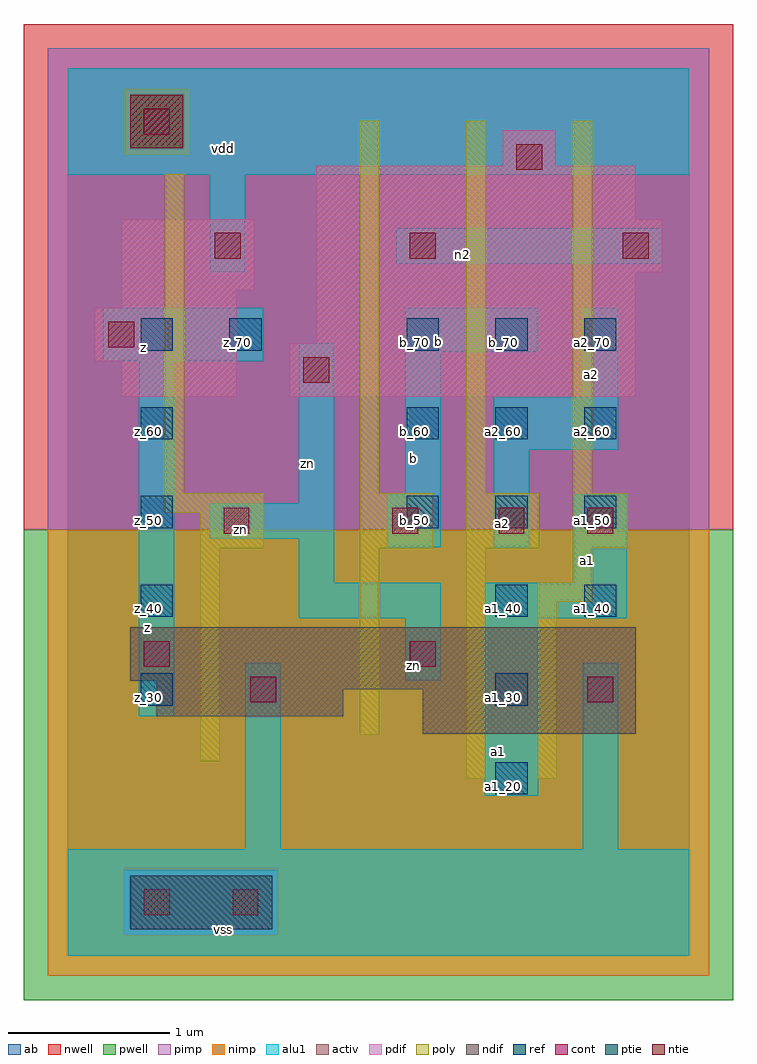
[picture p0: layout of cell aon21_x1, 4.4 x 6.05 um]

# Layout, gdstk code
import gdstk
lib = gdstk.Library(unit=1e-6, precision=2.5e-09)
def R(c, l, rs):  # rectangles x0, y0, x1, y1
    for r in rs: c.add(gdstk.rectangle(r[:2], r[2:], *l))
def A(c, l, x, y, w, h, nx, ny, dx, dy):  # array of equal rectangles
    R(c, l, [(x+i*dx, y+j*dy, x+i*dx+w, y+j*dy+h) for i in range(nx) for j in range(ny)])
ndif = (3, 0)
pdif = (4, 0)
ntie = (5, 0)
ptie = (6, 0)
ref = (24, 0)
cont = (25, 0)
pwell = (41, 0)
nwell = (42, 0)
activ = (43, 0)
pimp = (44, 0)
nimp = (45, 0)
poly = (46, 0)
alu1 = (49, 0)
ab = (63, 0)

aon21_x1 = lib.new_cell('aon21_x1')
R(aon21_x1, ndif, [(2.2,1.375,3.52,1.65), (0.55,1.485,1.705,1.65), (0.55,1.65,3.52,1.705), (0.385,1.705,3.52,2.035)])
R(aon21_x1, pdif, [(0.33,3.465,1.045,3.685), (1.375,3.465,3.52,3.795), (0.165,3.685,1.045,4.015), (1.54,3.795,3.52,4.235), (0.33,4.015,1.045,4.125), (0.33,4.125,1.155,4.565), (1.54,4.235,3.685,4.565), (1.54,4.565,3.52,4.895), (2.695,4.895,3.025,5.115)])
R(aon21_x1, ntie, [(0.385,5.005,0.715,5.335)])
R(aon21_x1, ptie, [(0.385,0.165,1.265,0.495)])
A(aon21_x1, ref, 2.65, 1, 0.2, 0.2, 1, 3, 0, 0.55)
A(aon21_x1, ref, 0.45, 1.55, 0.2, 0.2, 1, 5, 0, 0.55)
A(aon21_x1, ref, 2.1, 2.65, 0.2, 0.2, 3, 3, 0.55, 0.55)
R(aon21_x1, ref, [(3.2,2.1,3.4,2.3), (1,3.75,1.2,3.95)])
R(aon21_x1, cont, [(0.47,0.25,0.63,0.41), (1.02,0.25,1.18,0.41), (1.13,1.57,1.29,1.73), (3.22,1.57,3.38,1.73), (0.47,1.79,0.63,1.95), (2.12,1.79,2.28,1.95), (0.965,2.615,1.125,2.775), (2.01,2.615,2.17,2.775), (2.67,2.615,2.83,2.775), (3.22,2.615,3.38,2.775), (1.46,3.55,1.62,3.71), (0.25,3.77,0.41,3.93), (0.91,4.32,1.07,4.48), (2.12,4.32,2.28,4.48), (3.44,4.32,3.6,4.48), (2.78,4.87,2.94,5.03), (0.47,5.09,0.63,5.25)])
R(aon21_x1, pwell, [(-0.275,-0.275,4.125,2.64)])
R(aon21_x1, nwell, [(-0.275,2.64,4.125,5.775)])
R(aon21_x1, activ, [(0.385,0.165,1.265,0.495), (2.2,1.375,3.52,1.65), (0.55,1.485,1.705,1.65), (0.55,1.65,3.52,1.705), (0.385,1.705,3.52,2.035), (0.33,3.465,1.045,3.685), (1.375,3.465,3.52,3.795), (0.165,3.685,1.045,4.015), (1.54,3.795,3.52,4.235), (0.33,4.015,1.045,4.125), (0.33,4.125,1.155,4.565), (1.54,4.235,3.685,4.565), (1.54,4.565,3.52,4.895), (2.695,4.895,3.025,5.115), (0.385,5.005,0.715,5.335)])
R(aon21_x1, pimp, [(0.345,0.125,1.305,0.535), (-0.125,2.64,3.975,4.965), (-0.125,4.965,0.345,5.375), (0.755,4.965,3.975,5.375), (-0.125,5.375,3.975,5.625)])
R(aon21_x1, nimp, [(-0.125,-0.125,3.975,0.125), (-0.125,0.125,0.345,0.535), (1.305,0.125,3.975,0.535), (-0.125,0.535,3.975,2.64), (0.345,4.965,0.755,5.375)])
A(aon21_x1, poly, 1.81, 2.865, 0.12, 2.31, 3, 1, 0.66, 0)
R(aon21_x1, poly, [(2.47,1.095,2.59,2.525), (2.91,1.095,3.03,2.195), (0.82,1.205,0.94,2.525), (1.81,1.37,1.93,2.525), (2.91,2.195,3.25,2.315), (3.13,2.315,3.25,2.525), (0.82,2.525,1.215,2.745), (1.81,2.525,2.26,2.865), (2.47,2.525,2.92,2.865), (3.13,2.525,3.47,2.865), (0.6,2.745,1.215,2.865), (0.6,2.865,0.72,4.845)])
R(aon21_x1, alu1, [(0,0,3.85,0.66), (1.1,0.66,1.32,1.815), (3.19,0.66,3.41,1.815), (2.585,0.99,2.915,2.09), (0.44,1.485,0.66,3.685), (2.09,1.705,2.31,2.09), (1.43,2.09,2.31,2.31), (2.585,2.09,3.465,2.31), (1.43,2.31,1.65,2.585), (3.135,2.31,3.465,2.86), (1.98,2.53,2.31,2.86), (2.64,2.53,2.86,3.135), (0.88,2.585,1.65,2.805), (1.43,2.805,1.65,3.795), (2.09,2.86,2.31,3.74), (2.64,3.135,3.41,3.465), (3.19,3.465,3.41,4.015), (0.22,3.685,1.21,4.015), (2.09,3.74,2.915,4.015), (0.88,4.235,1.1,4.84), (2.035,4.29,3.685,4.51), (0,4.84,3.85,5.5)])
R(aon21_x1, ab, [(0,0,3.85,5.5)])
aon21_x1.add(gdstk.Label('vss', (0.9625,0.165), layer=49, texttype=0))
aon21_x1.add(gdstk.Label('a1', (2.6675,1.265), layer=49, texttype=0))
aon21_x1.add(gdstk.Label('zn', (2.145,1.8), layer=49, texttype=0))
aon21_x1.add(gdstk.Label('a1', (3.2175,2.4475), layer=49, texttype=0))
aon21_x1.add(gdstk.Label('a2', (2.695,2.68), layer=49, texttype=0))
aon21_x1.add(gdstk.Label('zn', (1.0725,2.64), layer=49, texttype=0))
aon21_x1.add(gdstk.Label('a2', (3.245,3.6025), layer=49, texttype=0))
aon21_x1.add(gdstk.Label('b', (2.145,3.08), layer=49, texttype=0))
aon21_x1.add(gdstk.Label('b', (2.295,3.8075), layer=49, texttype=0))
aon21_x1.add(gdstk.Label('zn', (1.485,3.0525), layer=49, texttype=0))
aon21_x1.add(gdstk.Label('z', (0.495,2.035), layer=49, texttype=0))
aon21_x1.add(gdstk.Label('z', (0.4675,3.7675), layer=49, texttype=0))
aon21_x1.add(gdstk.Label('n2', (2.4475,4.345), layer=49, texttype=0))
aon21_x1.add(gdstk.Label('vdd', (0.9625,5.005), layer=49, texttype=0))
aon21_x1.add(gdstk.Label('a1_20', (2.7,1.05), layer=24, texttype=0))
aon21_x1.add(gdstk.Label('z_70', (1.05,3.8), layer=24, texttype=0))
aon21_x1.add(gdstk.Label('z_30', (0.5,1.6), layer=24, texttype=0))
aon21_x1.add(gdstk.Label('z_40', (0.5,2.15), layer=24, texttype=0))
aon21_x1.add(gdstk.Label('z_50', (0.5,2.7), layer=24, texttype=0))
aon21_x1.add(gdstk.Label('z_60', (0.5,3.25), layer=24, texttype=0))
aon21_x1.add(gdstk.Label('z_70', (0.5,3.8), layer=24, texttype=0))
aon21_x1.add(gdstk.Label('a1_30', (2.7,1.6), layer=24, texttype=0))
aon21_x1.add(gdstk.Label('a1_50', (3.25,2.7), layer=24, texttype=0))
aon21_x1.add(gdstk.Label('a1_40', (2.7,2.15), layer=24, texttype=0))
aon21_x1.add(gdstk.Label('a2_60', (2.7,3.25), layer=24, texttype=0))
aon21_x1.add(gdstk.Label('b_70', (2.15,3.8), layer=24, texttype=0))
aon21_x1.add(gdstk.Label('a2_70', (3.25,3.8), layer=24, texttype=0))
aon21_x1.add(gdstk.Label('a1_40', (3.25,2.15), layer=24, texttype=0))
aon21_x1.add(gdstk.Label('b_50', (2.15,2.7), layer=24, texttype=0))
aon21_x1.add(gdstk.Label('b_60', (2.15,3.25), layer=24, texttype=0))
aon21_x1.add(gdstk.Label('b_70', (2.7,3.8), layer=24, texttype=0))
aon21_x1.add(gdstk.Label('a2_50', (2.7,2.7), layer=24, texttype=0))
aon21_x1.add(gdstk.Label('a2_60', (3.25,3.25), layer=24, texttype=0))

lib.write_gds('aon21_x1.gds')
